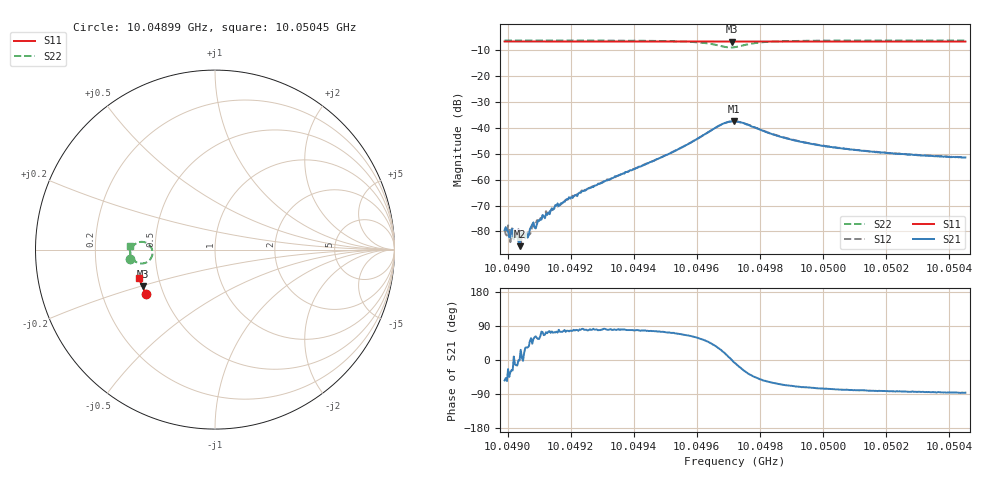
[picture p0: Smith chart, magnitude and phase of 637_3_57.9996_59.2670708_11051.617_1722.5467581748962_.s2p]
#  HZ  S  RI  R  50.00
! Rohde & Schwarz Vector Network Analyzer
! Rohde-Schwarz,ZNB20-2Port,1311601062101988,3.16
! Created: UTC 3/21/2024, 1:18:54 AM
! freq[Hz]  re:S11  im:S11  re:S21  im:S21  re:S12  im:S12  re:S22  im:S22
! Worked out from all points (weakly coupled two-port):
!   401 points, 10.04899 GHz to 10.05045 GHz, reference 50 ohm
!   highest |S21| = -37.58 dB at 10.04972 GHz (marker M1); lowest = -85.7 dB at 10.04904 GHz (marker M2)
!   lowest |S11| = -6.9 dB at 10.04971 GHz (marker M3), VSWR 2.65, Z = 19.8 - j10.2 ohm
!   |S11| at or under -10 dB: nowhere
!   |S22| runs from -9.2 to -6.5 dB; largest |S21 - S12| = 0.0011
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1.004899e10  -0.3825 -0.2465  6.27e-05 -8.61e-05  7.52e-05 -7.75e-05  -0.4732 -0.0503
1.0049008e10  -0.3831 -0.2453  6.54e-05 -4.08e-05  5.18e-05 -3.48e-05  -0.4732 -0.0487
1.0049038e10  -0.3841 -0.2437  5.22e-05 -1.06e-06  9.09e-05 -1.5e-05  -0.4732 -0.0464
1.0049067e10  -0.3852 -0.2419  6.92e-05 5.04e-05  5.32e-05 7.1e-05  -0.4733 -0.044
1.0049074e10  -0.3853 -0.2416  6.62e-05 0.000104  5.56e-05 8.09e-05  -0.4734 -0.0432
1.0049093e10  -0.386 -0.2406  7.17e-05 0.000115  0.000103 0.000127  -0.4733 -0.0416
1.0049103e10  -0.3864 -0.2398  7.79e-05 0.000154  7.77e-05 0.000161  -0.4735 -0.0406
1.0049125e10  -0.387 -0.2386  6.96e-05 0.000199  2.63e-05 0.00021  -0.4734 -0.0387
1.0049158e10  -0.3881 -0.2367  0.000104 0.00033  6.91e-05 0.000291  -0.4734 -0.0357
1.0049235e10  -0.3906 -0.2324  8.55e-05 0.000588  7.06e-05 0.000612  -0.473 -0.0281
1.004948e10  -0.3982 -0.2179  0.000646 0.00247  0.000517 0.00253  -0.4652 0.00531
1.0049575e10  -0.401 -0.212  0.00212 0.00442  0.00187 0.00456  -0.4484 0.0285
1.0049648e10  -0.4026 -0.2076  0.00666 0.00614  0.00625 0.00653  -0.4024 0.043
1.0049681e10  -0.4032 -0.2056  0.0108 0.00458  0.0104 0.0053  -0.3653 0.0252
1.004971e10  -0.4035 -0.2043  0.0132 0.000167  0.0131 0.00116  -0.348 -0.0189
1.0049717e10  -0.4038 -0.2041  0.0131 -0.00135  0.0133 -0.000356  -0.3497 -0.0315
1.0049721e10  -0.4038 -0.204  0.013 -0.00183  0.0131 -0.000952  -0.3515 -0.0374
1.0049812e10  -0.4072 -0.1992  0.00502 -0.00704  0.0055 -0.00665  -0.4364 -0.0708
1.0049882e10  -0.4093 -0.1948  0.0025 -0.00576  0.00291 -0.00559  -0.4594 -0.0511
1.0049966e10  -0.4116 -0.1898  0.00136 -0.00461  0.00163 -0.00459  -0.4689 -0.0333
1.0050211e10  -0.4179 -0.1749  0.000409 -0.00319  0.000592 -0.00319  -0.4749 -0.00174
1.0050452e10  -0.4233 -0.1601  0.000177 -0.00266  0.000299 -0.00266  -0.4752 0.0195
